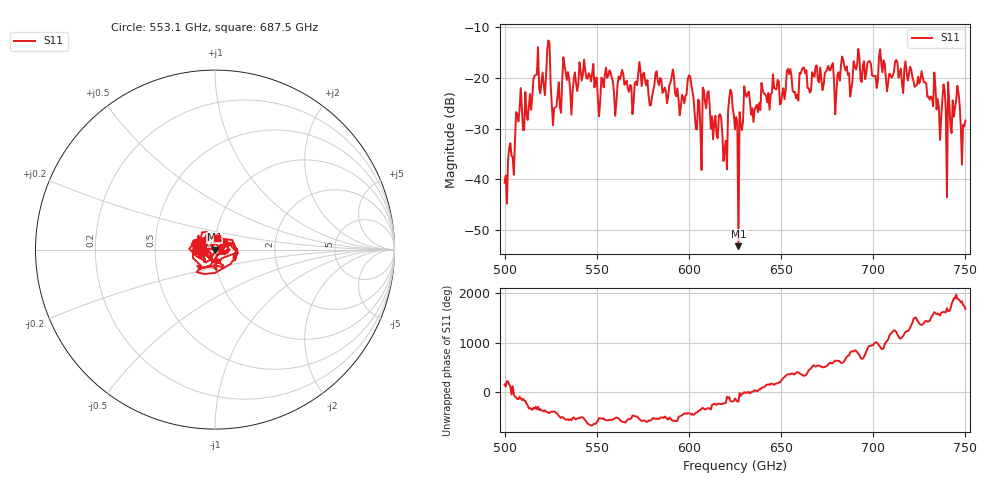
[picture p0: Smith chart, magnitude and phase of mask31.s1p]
!Created with skrf (http://scikit-rf.org).
# GHz S MA R 50.0
!freq magS11 angS11
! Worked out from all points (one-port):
!   401 points, 500 GHz to 750 GHz, reference 50 ohm
!   lowest |S11| = -53.2 dB at 626.9 GHz (marker M1), VSWR 1.00, Z = 49.8 + j0.0338 ohm
!   |S11| at or under -10 dB: start of sweep to end of sweep
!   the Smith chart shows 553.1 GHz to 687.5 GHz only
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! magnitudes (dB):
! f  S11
! 500 GHz  -40.7
! 507.5 GHz  -28.6
! 511.2 GHz  -22.8
! 516.9 GHz  -19.5
! 520.6 GHz  -18.9
! 523.8 GHz  -12.6
! 526.9 GHz  -26.0
! 531.2 GHz  -20.5
! 562.5 GHz  -20.4
! 593.8 GHz  -22.1
! 600.6 GHz  -19.7
! 605.6 GHz  -24.6
! 609.4 GHz  -26.0
! 619.4 GHz  -34.0
! 622.5 GHz  -22.3
! 625 GHz  -30.2
! 626.9 GHz  -53.2
! 631.2 GHz  -23.7
! 635 GHz  -28.7
! 656.2 GHz  -22.5
! 683.8 GHz  -16.6
! 687.5 GHz  -23.7
! 691.2 GHz  -17.5
! 718.8 GHz  -20.5
! 738.1 GHz  -21.3
! 741.2 GHz  -24.9
! 745.6 GHz  -21.6
! 750 GHz  -28.4
